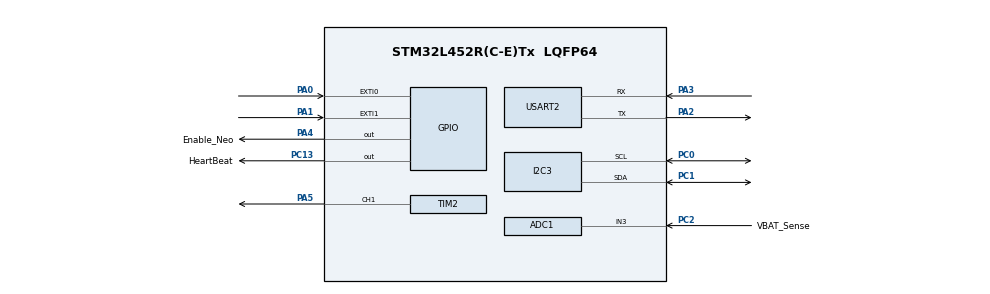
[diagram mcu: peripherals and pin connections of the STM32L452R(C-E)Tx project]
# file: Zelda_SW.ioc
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Mcu.Family=STM32L4
Dma.TIM2_CH1.0.MemInc=DMA_MINC_ENABLE
RCC.CortexFreq_Value=32000000
NVIC.DMA1_Channel5_IRQn=true\:0\:0\:false\:false\:true\:false\:true
Dma.TIM2_CH1.0.Instance=DMA1_Channel5
PC13.GPIO_Label=HeartBeat
RCC.SYSCLKSource=RCC_SYSCLKSOURCE_PLLCLK
ProjectManager.StackSize=0x400
PA14\ (JTCK/SWCLK).Signal=SYS_JTCK-SWCLK
NVIC.EXTI1_IRQn=true\:0\:0\:false\:false\:true\:true\:true
RCC.HCLKFreq_Value=32000000
SH.ADCx_IN3.0=ADC1_IN3,IN3-Single-Ended
RCC.APB2TimFreq_Value=32000000
PA1.GPIO_PuPd=GPIO_PULLDOWN
RCC.AHBFreq_Value=32000000
ADC1.Channel-0\#ChannelRegularConversion=ADC_CHANNEL_3
RCC.HSE_VALUE=8000000
USART2.VirtualMode-Asynchronous=VM_ASYNC
PA14\ (JTCK/SWCLK).Mode=Trace_Asynchronous_SW
TIM2.Channel-PWM\ Generation1\ CH1=TIM_CHANNEL_1
ADC1.SamplingTime-0\#ChannelRegularConversion=ADC_SAMPLETIME_2CYCLES_5
PA0.Signal=GPXTI0
Mcu.Package=LQFP64
PA0.GPIO_PuPd=GPIO_PULLDOWN
Dma.TIM2_CH1.0.PeriphDataAlignment=DMA_PDATAALIGN_WORD
I2C3.Timing=0x00707CBB
RCC.APB1TimFreq_Value=32000000
Dma.Request0=TIM2_CH1
PA4.GPIO_Label=Enable_Neo
Dma.TIM2_CH1.0.Direction=DMA_PERIPH_TO_MEMORY
PC2.GPIO_Label=VBAT_Sense
RCC.HSI48_VALUE=48000000
RCC.PLLSAI1N=16
PA3.Signal=USART2_RX
RCC.MSI_VALUE=4000000
SH.S_TIM2_CH1.0=TIM2_CH1,PWM Generation1 CH1
ADC1.Rank-0\#ChannelRegularConversion=1
PA13\ (JTMS/SWDIO).Mode=Trace_Asynchronous_SW
ADC1.OffsetNumber-0\#ChannelRegularConversion=ADC_OFFSET_NONE
PC13.Signal=GPIO_Output
PC2.Signal=ADCx_IN3
PC0.Signal=I2C3_SCL
PC0.Mode=I2C
PA3.Mode=Asynchronous
PB3\ (JTDO/TRACESWO).Signal=SYS_JTDO-SWO
ProjectManager.TargetToolchain=TrueSTUDIO
RCC.USBFreq_Value=32000000
PA1.Signal=GPXTI1
PA5.Signal=S_TIM2_CH1
board=custom
RCC.VCOOutputFreq_Value=64000000
RCC.APB2Freq_Value=32000000
Dma.TIM2_CH1.0.Priority=DMA_PRIORITY_LOW
PA0.GPIO_ModeDefaultEXTI=GPIO_MODE_IT_RISING
RCC.ADCFreq_Value=32000000
Mcu.Name=STM32L452R(C-E)Tx
PA2.Signal=USART2_TX
NVIC.EXTI0_IRQn=true\:0\:0\:false\:false\:true\:true\:true
PA4.Signal=GPIO_Output
RCC.SYSCLKFreq_VALUE=32000000
Dma.TIM2_CH1.0.Mode=DMA_NORMAL
ADC1.master=1
Dma.TIM2_CH1.0.MemDataAlignment=DMA_MDATAALIGN_WORD
ProjectManager.HeapSize=0x200
RCC.HSI_VALUE=16000000
NVIC.PriorityGroup=NVIC_PRIORITYGROUP_4
ADC1.NbrOfConversionFlag=1
PB3\ (JTDO/TRACESWO).Mode=Trace_Asynchronous_SW
RCC.PLLN=16
PA2.Mode=Asynchronous
RCC.APB1Freq_Value=32000000
Dma.TIM2_CH1.0.PeriphInc=DMA_PINC_DISABLE
PC1.Signal=I2C3_SDA
PA13\ (JTMS/SWDIO).Signal=SYS_JTMS-SWDIO
PC1.Mode=I2C

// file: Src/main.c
/* USER CODE BEGIN Header */
/**
  ******************************************************************************
  * @file           : main.c
  * @brief          : Main program body
  ******************************************************************************
  * @attention
  *
  * <h2><center>&copy; Copyright (c) 2020 STMicroelectronics.
  * All rights reserved.</center></h2>
  *
  * This software component is licensed by ST under BSD 3-Clause license,
  * the "License"; You may not use this file except in compliance with the
  * License. You may obtain a copy of the License at:
  *                        opensource.org/licenses/BSD-3-Clause
  *
  ******************************************************************************
  */
/* USER CODE END Header */

#include "main.h"
#include "adc.h"
#include "dma.h"
#include "i2c.h"
#include "tim.h"
#include "usart.h"
#include "gpio.h"

/* USER CODE BEGIN Includes */
#include "__ExegerGeneric.h"
#include "PowerManage.h"
#include "NeoPixel.h"
/* USER CODE END Includes */

/* USER CODE BEGIN PTD */
extern uint8_t buttonPressed;
extern uint32_t amountButtonPressed;
uint8_t isSleeping;
/* USER CODE END PTD */

void SystemClock_Config(void);

int main(void)
{

  /* MCU Configuration--------------------------------------------------------*/

  /* Reset of all peripherals, Initializes the Flash interface and the Systick. */
  HAL_Init();

  /* Configure the system clock */
  SystemClock_Config();

  /* Initialize all configured peripherals */
  MX_GPIO_Init();
  MX_DMA_Init();
  MX_I2C3_Init();
  MX_TIM2_Init();
  MX_USART2_UART_Init();
  MX_ADC1_Init();
  /* USER CODE BEGIN 2 */
  HAL_GPIO_WritePin(Enable_Neo_GPIO_Port, Enable_Neo_Pin, GPIO_PIN_SET);
  HeartBeatOff();

  HAL_Delay(100);

  led_init();
  led_set_color_all(0x00, 0x00, 0x00);
  led_update(1);

  PowerUpSword();

  uint32_t RainbowCounter = 0;
  /* USER CODE END 2 */

  /* Infinite loop */
  while (1)
  {

    /* USER CODE BEGIN 3 */

//	  while(1)
//	  {
//		  HAL_Delay(100);
//		  HeartBeatToggle();
//	  }

	  if(buttonPressed)
	  	  {
	  		  while(HAL_GPIO_ReadPin(GPIOA, GPIO_PIN_0) == GPIO_PIN_SET)
	  		  {
	  			  amountButtonPressed++;
	  			  HAL_Delay(1);
	  		  }
	  		  /* Check if been asleep or not! */
	  		HeartBeatOff();
	  		  uint8_t counter = 100;
	  		  if(amountButtonPressed > 1000)
	  		  {
	  //			  TurnAllBlue();
	  //			  while(counter > 0)
	  //			  {
	  //				  HAL_GPIO_TogglePin(GPIOC, GPIO_PIN_13);
	  //				  HAL_Delay(20);
	  //				  counter--;
	  //
	  //			  }
	  			  isSleeping = 1;
	  			  PowerDownSword();
	  			  SystemSleepAndWakeup();

	  			  /* Go to sleeeeep */
	  		  }
	  		  else
	  		  {
	  			  if(isSleeping)
	  			  {
	  				HeartBeatOff();
	  				PowerUpSword();
	  			  }
	  			  else
	  			  {
	  				HeartBeatOff();
	  				NeoStateMachine(GetNeoState());
	  			  }
	  			  isSleeping = 0;
	  		  }

	  		  amountButtonPressed = 0;
	  		  buttonPressed = 0;
	  	  }

	  if(GetNeoState() == NEO_RAINBOW)
	  {
		  HeartBeatOff();
		  RainBow(RainbowCounter);
		  led_update(1);
		  RainbowCounter++;
		  HAL_Delay(50);
		  if(RainbowCounter > 1000)
		  {
			  RainbowCounter = 0;
		  }
	  }

//	  	  if(isSleeping == 1)
//	  	  {
//
//	  		  isSleeping = 0;
//	  		  NeoStateMachine(GetNeoState());
//	  	  }

	  	  HAL_Delay(1);
  }
  /* USER CODE END 3 */
}

//void SystemClock_Config(void)
//{
//  LL_FLASH_SetLatency(LL_FLASH_LATENCY_1);
//
//  if(LL_FLASH_GetLatency() != LL_FLASH_LATENCY_1)
//  {
//  Error_Handler();
//  }
//  LL_PWR_SetRegulVoltageScaling(LL_PWR_REGU_VOLTAGE_SCALE1);
//  LL_RCC_MSI_Enable();
//
//   /* Wait till MSI is ready */
//  while(LL_RCC_MSI_IsReady() != 1)
//  {
//
//  }
//  LL_RCC_MSI_EnableRangeSelection();
//  LL_RCC_MSI_SetRange(LL_RCC_MSIRANGE_6);
//  LL_RCC_MSI_SetCalibTrimming(0);
//  LL_RCC_PLL_ConfigDomain_SYS(LL_RCC_PLLSOURCE_MSI, LL_RCC_PLLM_DIV_1, 16, LL_RCC_PLLR_DIV_2);
//  LL_RCC_PLL_EnableDomain_SYS();
//  LL_RCC_PLL_Enable();
//
//   /* Wait till PLL is ready */
//  while(LL_RCC_PLL_IsReady() != 1)
//  {
//
//  }
//  LL_RCC_PLLSAI1_ConfigDomain_ADC(LL_RCC_PLLSOURCE_MSI, LL_RCC_PLLM_DIV_1, 16, LL_RCC_PLLSAI1R_DIV_2);
//  LL_RCC_PLLSAI1_EnableDomain_ADC();
//  LL_RCC_PLLSAI1_Enable();
//
//   /* Wait till PLLSAI1 is ready */
//  while(LL_RCC_PLLSAI1_IsReady() != 1)
//  {
//
//  }
//  LL_RCC_SetSysClkSource(LL_RCC_SYS_CLKSOURCE_PLL);
//
//   /* Wait till System clock is ready */
//  while(LL_RCC_GetSysClkSource() != LL_RCC_SYS_CLKSOURCE_STATUS_PLL)
//  {
//
//  }
//  LL_RCC_SetAHBPrescaler(LL_RCC_SYSCLK_DIV_1);
//  LL_RCC_SetAPB1Prescaler(LL_RCC_APB1_DIV_1);
//  LL_RCC_SetAPB2Prescaler(LL_RCC_APB2_DIV_1);
//  LL_SetSystemCoreClock(32000000);
//
//   /* Update the time base */
//  if (HAL_InitTick (TICK_INT_PRIORITY) != HAL_OK)
//  {
//    Error_Handler();
//  };
//  LL_RCC_SetUSARTClockSource(LL_RCC_USART2_CLKSOURCE_PCLK1);
//  LL_RCC_SetI2CClockSource(LL_RCC_I2C3_CLKSOURCE_PCLK1);
//  LL_RCC_SetADCClockSource(LL_RCC_ADC_CLKSOURCE_PLLSAI1);
//}

void Error_Handler(void)
{
}

/************************ (C) COPYRIGHT STMicroelectronics *****END OF FILE****/
